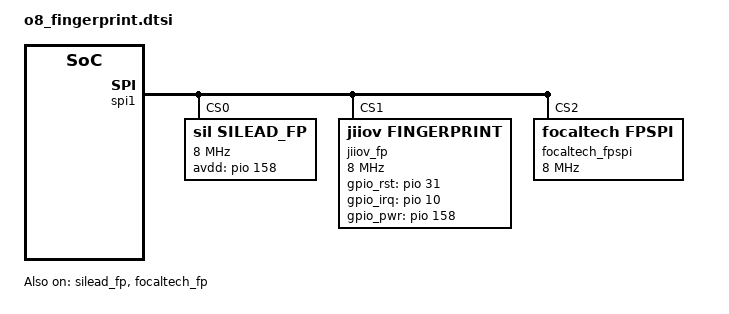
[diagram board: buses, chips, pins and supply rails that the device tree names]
/* A06 code for SR-AL7160A-01-54 by hehaoran at 20240407 start*/
&spi1 {
    #address-cells = <1>;
    #size-cells = <0>;
    /delete-property/mediatek,pad-select;
    mediatek,pad-select = <0>, <0>, <0>;
    cs-gpios = <0>, <0>, <0>;
    status = "okay";

    silead_fp@0 {
        compatible = "sil,silead_fp";
        reg = <0>;
        spi-id = <1>;
        spi-irq = <138>;
        spi-reg = <0x1100a000>;
        spi-max-frequency = <8000000>;
        avdd-gpio =<&pio 158 0x0>;
        status = "okay";
    };
    /*A06 code for SR-AL7160A-01-16 by hehaoran at 20240422 start*/
    jiiov_fp@1 {
        compatible = "jiiov,fingerprint";
        reg = <1>;
        spi-max-frequency = <8000000>;
        anc,vdd_use_gpio;
        interrupt-parent = <&pio>;
        anc,gpio_rst = <&pio 31 0x00>;
        anc,gpio_irq = <&pio 10 0x00>;
        anc,gpio_pwr = <&pio 158 0x0>;
        status = "okay";
        pinctrl-names = "anc_reset_low", "anc_reset_high",
                    "anc_irq_default","fp_gpio_mode",
                    "fp_spi_mode";
        pinctrl-0 = <&anc_reset_low>;
        pinctrl-1 = <&anc_reset_high>;
        pinctrl-2 = <&anc_irq_default>;
        pinctrl-3 = <&fp_gpio_mode>;
        pinctrl-4 = <&fp_spi_mode>;
    };
    /*A06 code for SR-AL7160A-01-16 by hehaoran at 20240422 end*/
    focaltech_fpspi@2 {
        compatible = "focaltech,fpspi";
        reg = <2>;
        spi-max-frequency = <8000000>;
        status = "okay";
    };
};
/* A06 code for SR-AL7160A-01-54 by hehaoran at 20240407 end*/
/*A06 code for SR-AL7160A-01-16 by hehaoran at 20240422 start*/
&silead_fp {
    interrupt-parent = <&pio>;
    interrupts = <10 IRQ_TYPE_EDGE_RISING 10 0>;

    pinctrl-names = "default", "rst-low", "rst-high" ,
    "irq-init", "fp_spi_mode", "irq_rst-low", "irq_rst-high",
    "avdd-enable", "avdd-disable","fp_gpio_mode";
    pinctrl-0 = <&silfp_default>;
    pinctrl-1 = <&silfp_rst_low>;
    pinctrl-2 = <&silfp_rst_high>;
    pinctrl-3 = <&silfp_irq>;
    pinctrl-4 = <&fp_spi_mode>;
    pinctrl-5 = <&silfp_irq_rst_low>;
    pinctrl-6 = <&silfp_irq_rst_high>;
    pinctrl-7 = <&silead_avdd_enable>;
    pinctrl-8 = <&silead_avdd_disable>;
    pinctrl-9 = <&fp_gpio_mode>;
    status = "okay";
};

&pio {
    fp_spi_mode: fp_spi_mode {
        pins_cmd_dat {
            pinmux = <PINMUX_GPIO85__FUNC_SPI1_A_MI>,
            <PINMUX_GPIO87__FUNC_SPI1_A_MO>,
            <PINMUX_GPIO86__FUNC_SPI1_A_CSB>,
            <PINMUX_GPIO88__FUNC_SPI1_A_CLK>;
        };
    };
    fp_gpio_mode: fp_gpio_mode {
        pins_cmd_dat {
            pinmux = <PINMUX_GPIO85__FUNC_GPIO85>,
            <PINMUX_GPIO86__FUNC_GPIO86>,
            <PINMUX_GPIO87__FUNC_GPIO87>,
            <PINMUX_GPIO88__FUNC_GPIO88>;
        };
    };
};
/*A06 code for SR-AL7160A-01-16 by hehaoran at 20240422 end*/
&pio {
    silfp_default: silfpdefault {
    };

    silfp_rst_high: state_reset_high {
        pins_cmd_dat {
            pinmux = <PINMUX_GPIO31__FUNC_GPIO31>;
            slew-rate = <1>;
            output-high;
        };
    };

    silfp_rst_low: state_reset_low {
        pins_cmd_dat {
            pinmux = <PINMUX_GPIO31__FUNC_GPIO31>;
            slew-rate = <1>;
            output-low;
        };
    };

    silfp_irq_rst_high: state_irq_to_reset_high {
        pins_cmd_dat {
            pinmux = <PINMUX_GPIO10__FUNC_GPIO10>;
            slew-rate = <1>;
            output-high;
        };
    };

    silfp_irq_rst_low: state_irq_to_reset_low {
        pins_cmd_dat {
            pinmux = <PINMUX_GPIO10__FUNC_GPIO10>;
            slew-rate = <1>;
            output-low;
        };
    };

    silfp_irq: fp_eint@10 {
        pins_cmd_dat {
            pinmux = <PINMUX_GPIO10__FUNC_GPIO10>;
            slew-rate = <0>;
            output-low;
        };
    };

    silead_avdd_enable: silead_avdd_enable {
        pins_cmd_dat {
            pinmux = <PINMUX_GPIO158__FUNC_GPIO158>;
            slew-rate = <1>;
            output-high;
        };
    };

    silead_avdd_disable: silead_avdd_disable {
        pins_cmd_dat {
            pinmux = <PINMUX_GPIO158__FUNC_GPIO158>;
            slew-rate = <1>;
            output-low;
        };
    };
};
/*A06 code for SR-AL7160A-01-16 by hehaoran at 20240422 start*/
&pio {
    anc_reset_low: anc_reset_low {
        pins_cmd_dat {
            pinmux = <PINMUX_GPIO31__FUNC_GPIO31>;
            slew-rate = <1>;
            output-low;
        };
    };
    anc_reset_high: anc_reset_high {
        pins_cmd_dat {
            pinmux = <PINMUX_GPIO31__FUNC_GPIO31>;
            slew-rate = <1>;
            output-high;
        };
    };
    anc_irq_default: anc_irq_default {
        pins_cmd_dat {
            pinmux = <PINMUX_GPIO10__FUNC_GPIO10>;
            slew-rate = <0>;
            bias-pull-down;
            input-enable;
        };
    };
};

/* A06 code for SR-AL7160A-01-4 by hehaoran at 20240401 start*/
&focaltech_fp {
    status = "okay";
    interrupt-parent = <&pio>;
    interrupts = <10 IRQ_TYPE_EDGE_RISING>;

    focaltech_fp,reset-gpio = <&pio 31 0>;
    focaltech_fp,irq-gpio = <&pio 10 0>;
    focaltech_fp,vdd-gpio = <&pio 158 0>;
    focaltech_fp,ldo-gpio = <&pio 158 0>;

    //focaltech_fp,power-always-on;
    //focaltech_fp,use-regulator;
    //ff_vdd-supply = <&mt_pmic_vfp_ldo_reg>;

    //focaltech_fp,ree;
    //focaltech_fp,no-screen-on-off;
    focaltech_fp,spiclk;

    focaltech_fp,use-pinctrl;
    pinctrl-names = "ff_pins_reset_low","ff_pins_reset_high",
                "ff_pins_irq_as_int","ff_pins_power_low",
                "ff_pins_power_high","fp_gpio_mode",
                "fp_spi_mode";
    pinctrl-0 = <&fp_pins_rst_output0>;
    pinctrl-1 = <&fp_pins_rst_output1>;
    pinctrl-2 = <&fp_pins_eint>;
    pinctrl-3 = <&fp_pins_power_output0>;
    pinctrl-4 = <&fp_pins_power_output1>;
    pinctrl-5 = <&fp_gpio_mode>;
    pinctrl-6 = <&fp_spi_mode>;
};
/*A06 code for SR-AL7160A-01-16 by hehaoran at 20240422 end*/
&pio {
    fp_pins_rst_output0: fprstout0 {
        pins_cmd_dat {
            pinmux = <PINMUX_GPIO31__FUNC_GPIO31>;
            output-low;
        };
    };
    fp_pins_rst_output1: fprstout1 {
        pins_cmd_dat {
            pinmux = <PINMUX_GPIO31__FUNC_GPIO31>;
            output-high;
        };
    };
    fp_pins_eint: fpeint {
        pins_cmd_dat {
            pinmux = <PINMUX_GPIO10__FUNC_GPIO10>;
            bias-disable;
            input-enable;
        };
    };
    fp_pins_power_output0: fppwrout0 {
        pins_cmd_dat {
            pinmux = <PINMUX_GPIO158__FUNC_GPIO158>;
            output-low;
        };
    };
    fp_pins_power_output1: fppwrout1 {
        pins_cmd_dat {
            pinmux = <PINMUX_GPIO158__FUNC_GPIO158>;
            output-high;
        };
    };
};
/* A06 code for SR-AL7160A-01-4 by hehaoran at 20240401 end*/
